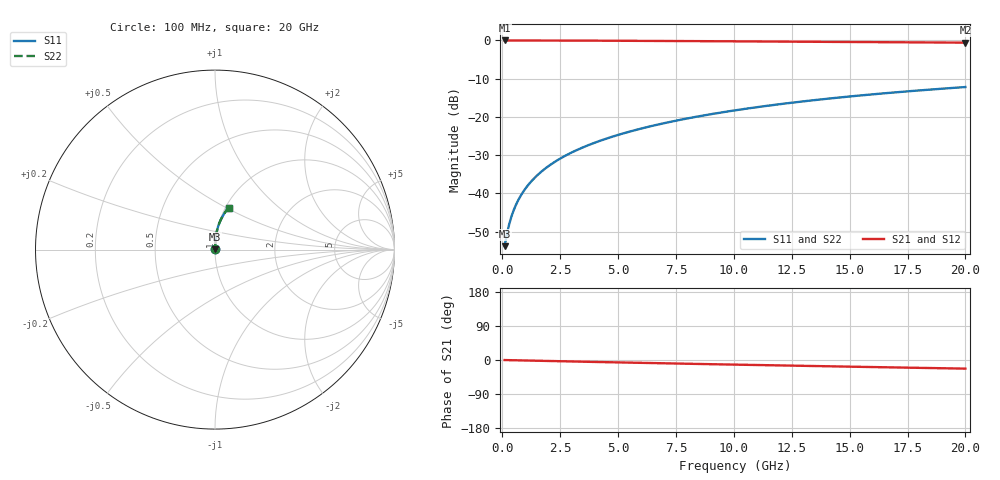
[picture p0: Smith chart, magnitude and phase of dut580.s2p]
! Touchstone file exported from HFSS 2024.1.0
!  File:  C:/UserFiles/LocalFiles/RDL_TSV_Batchsim/temp_RDL_bottom_580_1779690569.aedt
!  Generated:  02:32:32 PM May 25, 2026
!  Design:  RDL_bottom
!  Project:  temp_RDL_bottom_580_1779690569
!  Setup:  Setup1
!  Solution:  Sweep
! Variables:
!  dtsv = 10.80580581um
!  hbump = 3um
!  htsv = 84.28um
!  ldown = 287.47um
!  lrdl = 100um
!  p = 40
!  p1 = 49.3um
!  rhole = 1um
!  t = 450um
!  tdown = 3.48um
!  trdl = 3.915915916um
!  wdown = 20.37um
!  wrdl = 20um
# GHz S MA R 50.000000
! Terminal data exported
! Port[1] = RDL1_T1
! Port[2] = RDL1_T2
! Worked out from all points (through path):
!   200 points, 100 MHz to 20 GHz, reference 50 ohm
!   highest |S21| = -0.01 dB at 100 MHz (marker M1); lowest = -0.6 dB at 20 GHz (marker M2)
!   group delay of S21, straight-line fit = 3.14 ps
!   lowest |S11| = -53.8 dB at 100 MHz (marker M3), VSWR 1.00, Z = 50.2 + j0.123 ohm
!   |S11| at or under -10 dB: start of sweep to end of sweep
!   |S22| runs from -53.8 to -12.2 dB; largest |S21 - S12| = 3e-15
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0.1  0.002048 36.7  0.9984 -0.1  0.9984 -0.1  0.002048 36.7
! Gamma 0 0 0 0
! Port Impedance 50 0 50 0
0.2  0.002958 54.9  0.9983 -0.3  0.9983 -0.3  0.002958 54.9
0.3  0.003992 63.7  0.9982 -0.4  0.9982 -0.4  0.003992 63.7
0.4  0.005054 68.8  0.9981 -0.5  0.9981 -0.5  0.005054 68.8
0.5  0.006128 72.2  0.998 -0.7  0.998 -0.7  0.006128 72.2
0.6  0.007208 74.6  0.9979 -0.8  0.9979 -0.8  0.007208 74.6
0.8  0.00939 77.9  0.9978 -1.1  0.9978 -1.1  0.00939 77.9
1.1  0.0127 80.9  0.9975 -1.4  0.9975 -1.4  0.0127 80.9
1.5  0.01718 83.1  0.9971 -2.0  0.9971 -2.0  0.01718 83.1
1.8  0.02057 84.1  0.9967 -2.3  0.9967 -2.3  0.02057 84.1
2.1  0.02398 84.9  0.9963 -2.7  0.9963 -2.7  0.02398 84.9
2.7  0.03088 85.8  0.9952 -3.5  0.9952 -3.5  0.03088 85.8
3.5  0.04023 86.3  0.9935 -4.5  0.9935 -4.5  0.04023 86.3
4.2  0.04855 86.5  0.9917 -5.4  0.9917 -5.4  0.04855 86.5
5  0.05822 86.4  0.9895 -6.4  0.9895 -6.4  0.05821 86.4
5.9  0.06928 86.1  0.9867 -7.5  0.9867 -7.5  0.06928 86.1
6.8  0.08051 85.7  0.9837 -8.5  0.9837 -8.5  0.08051 85.7
8.4  0.1008 84.5  0.9782 -10.4  0.9782 -10.4  0.1008 84.5
10.1  0.1226 82.9  0.9721 -12.3  0.9721 -12.3  0.1226 82.9
13.4  0.1649 79.4  0.9601 -15.9  0.9601 -15.9  0.1649 79.4
16.7  0.2062 75.7  0.9476 -19.4  0.9476 -19.4  0.2061 75.7
20  0.2458 72.0  0.9347 -22.8  0.9347 -22.8  0.2458 72.0
